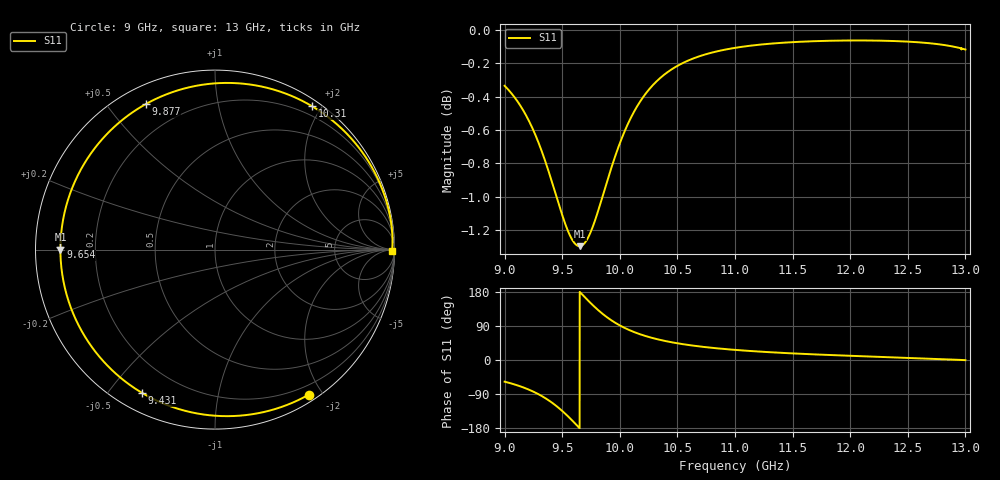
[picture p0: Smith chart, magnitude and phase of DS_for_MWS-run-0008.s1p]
! TOUCHSTONE file generated by CST DESIGN STUDIO
! Date and time: Wed Feb  5 13:45:16 2025
! Project name: C:\Work\MatlabApps\UnitCellOptimizationMatlab\CST\unitcell.cst
! Tree item: Tasks\Sweep1\SPara1\S-Parameters
! Header version: 2024
! Port assignment regex: !\s*Touchstone port\s*([0-9]+)\s*=\s*(CST MWS port|CST DES external port|CST DES block port)\s*(.+)\s* \(\"(.*)\"\)(\s*mode\s*([0-9]+))?.*
! Touchstone port assignment:
! Touchstone port 1 = CST DES external port 1 ("")
# GHz S MA R 50
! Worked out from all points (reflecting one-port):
!   4001 points, 9 GHz to 13 GHz, reference 50 ohm
!   lowest |S11| = -1.3 dB at 9.651 GHz (marker M1), VSWR 13.43, Z = 3.72 - j0.0309 ohm
!   phase of S11 starts at -57 deg and turns -303 deg over the sweep
!   S11 on the Smith chart (normalised r, x): 9 GHz: 0.08, -1.83; 9.431 GHz: 0.08, -0.61; 9.654 GHz: 0.07, +0.01; 9.877 GHz: 0.08, +0.63; 10.31 GHz: 0.08, +1.88; 13 GHz: open
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9  0.9622 -57.2
9.108  0.9524 -66.6
9.217  0.9383 -79.0
9.335  0.9172 -97.3
9.385  0.9064 -106.9
9.431  0.8958 -117.0
9.5  0.8801 -134.4
9.581  0.8659 -157.9
9.617  0.8625 -169.1
9.651  0.8614 -179.9
9.654  0.8614 179.1
9.711  0.8648 161.1
9.774  0.8747 142.2
9.825  0.8856 128.3
9.877  0.8978 115.5
9.935  0.9111 103.1
10  0.9247 91.3
10.072  0.9375 80.4
10.146  0.9481 71.2
10.225  0.9571 63.1
10.31  0.9645 56.0
10.5  0.9756 44.1
10.719  0.9828 34.8
11  0.9878 26.7
11.5  0.9917 17.4
12  0.9928 11.1
12.5  0.992 5.8
13  0.9866 -0.4
